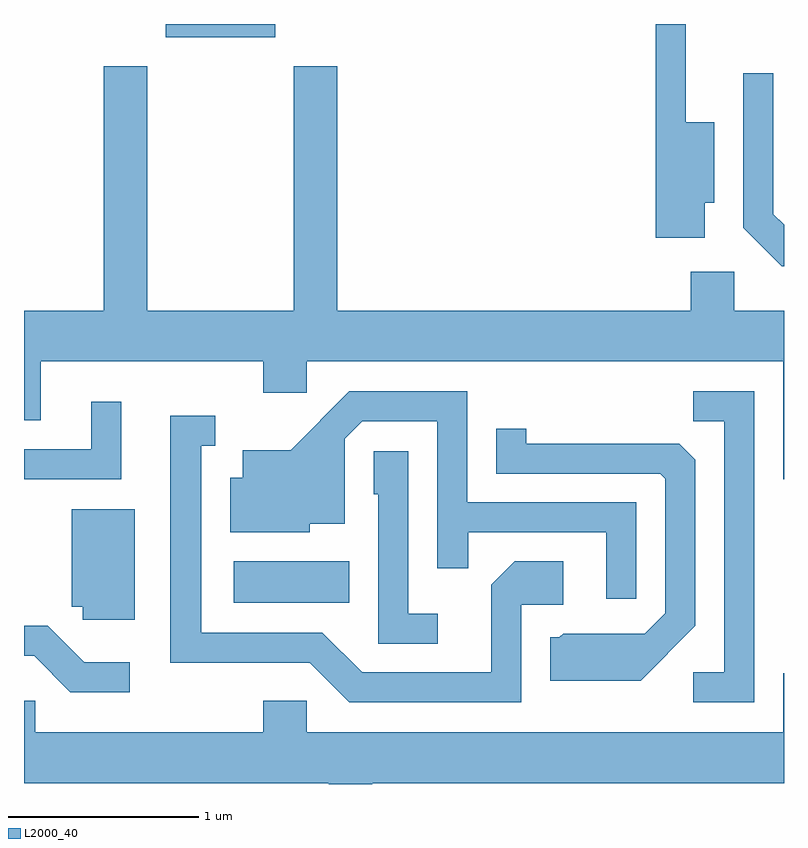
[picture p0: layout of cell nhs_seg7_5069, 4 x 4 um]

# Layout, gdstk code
import gdstk
lib = gdstk.Library(unit=1e-6, precision=1e-09)
def R(c, l, rs):  # rectangles x0, y0, x1, y1
    for r in rs: c.add(gdstk.rectangle(r[:2], r[2:], *l))
def P(c, l, *ps):  # polygons
    for p in ps: c.add(gdstk.Polygon(p, *l))
L2000_40 = (2000, 40)

nhs_seg7_5069 = lib.new_cell('nhs_seg7_5069')
R(nhs_seg7_5069, L2000_40, [(340.716,1775.206,341.324,1775.424), (340.356,1778.181,340.934,1778.252)])
P(nhs_seg7_5069, L2000_40, [(343.194,1777.311),(343.244,1777.311),(343.244,1777.734),(343.094,1777.734),(343.094,1778.252),(342.936,1778.252),(342.936,1777.126),(343.194,1777.126)],
  [(343.611,1776.744),(343.349,1776.744),(343.349,1776.949),(343.121,1776.949),(343.121,1776.744),(341.259,1776.744),(341.259,1778.029),(341.031,1778.029),(341.031,1776.744),(340.259,1776.744),(340.259,1778.029),(340.031,1778.029),(340.031,1776.744),(339.611,1776.744),(339.611,1776.166),(339.699,1776.166),(339.699,1776.476),(340.871,1776.476),(340.871,1776.311),(341.099,1776.311),(341.099,1776.476),(343.606,1776.476),(343.606,1775.856),(343.611,1775.856)],
  [(343.611,1777.195),(343.554,1777.252),(343.554,1777.993),(343.396,1777.993),(343.396,1777.179),(343.599,1776.976),(343.611,1776.976)],
  [(343.454,1776.319),(343.133,1776.319),(343.133,1776.161),(343.296,1776.161),(343.296,1774.839),(343.133,1774.839),(343.133,1774.681),(343.454,1774.681)],
  [(342.834,1775.734),(341.944,1775.734),(341.944,1776.319),(341.324,1776.319),(341.014,1776.009),(340.761,1776.009),(340.761,1775.864),(340.696,1775.864),(340.696,1775.576),(341.114,1775.576),(341.114,1775.621),(341.299,1775.621),(341.299,1776.069),(341.392,1776.161),(341.786,1776.161),(341.786,1775.388),(341.949,1775.388),(341.949,1775.576),(342.676,1775.576),(342.676,1775.228),(342.834,1775.228)],
  [(340.124,1776.263),(339.966,1776.263),(339.966,1776.014),(339.611,1776.014),(339.611,1775.856),(340.124,1775.856)],
  [(342.229,1775.196),(342.449,1775.196),(342.449,1775.424),(342.194,1775.424),(342.071,1775.302),(342.071,1774.839),(341.392,1774.839),(341.182,1775.049),(340.544,1775.049),(340.544,1776.031),(340.618,1776.031),(340.618,1776.189),(340.381,1776.189),(340.381,1774.891),(341.114,1774.891),(341.324,1774.681),(342.229,1774.681)],
  [(343.144,1775.084),(343.144,1775.959),(343.059,1776.044),(342.254,1776.044),(342.254,1776.123),(342.096,1776.123),(342.096,1775.886),(342.959,1775.886),(342.986,1775.859),(342.986,1775.152),(342.879,1775.044),(342.449,1775.044),(342.429,1775.024),(342.381,1775.024),(342.381,1774.796),(342.857,1774.796)],
  [(341.788,1775.149),(341.634,1775.149),(341.634,1776.004),(341.451,1776.004),(341.451,1775.776),(341.476,1775.776),(341.476,1774.991),(341.788,1774.991)],
  [(340.194,1775.699),(339.861,1775.699),(339.861,1775.186),(339.921,1775.186),(339.921,1775.116),(340.194,1775.116)],
  [(340.168,1774.894),(339.927,1774.894),(339.737,1775.084),(339.611,1775.084),(339.611,1774.926),(339.664,1774.926),(339.854,1774.736),(340.168,1774.736)],
  [(341.444,1774.256),(343.611,1774.256),(343.611,1774.834),(343.606,1774.834),(343.606,1774.524),(341.099,1774.524),(341.099,1774.689),(340.871,1774.689),(340.871,1774.524),(339.669,1774.524),(339.669,1774.689),(339.611,1774.689),(339.611,1774.256),(341.216,1774.256),(341.216,1774.252),(341.444,1774.252)])

lib.write_gds('nhs_seg7_5069.gds')
